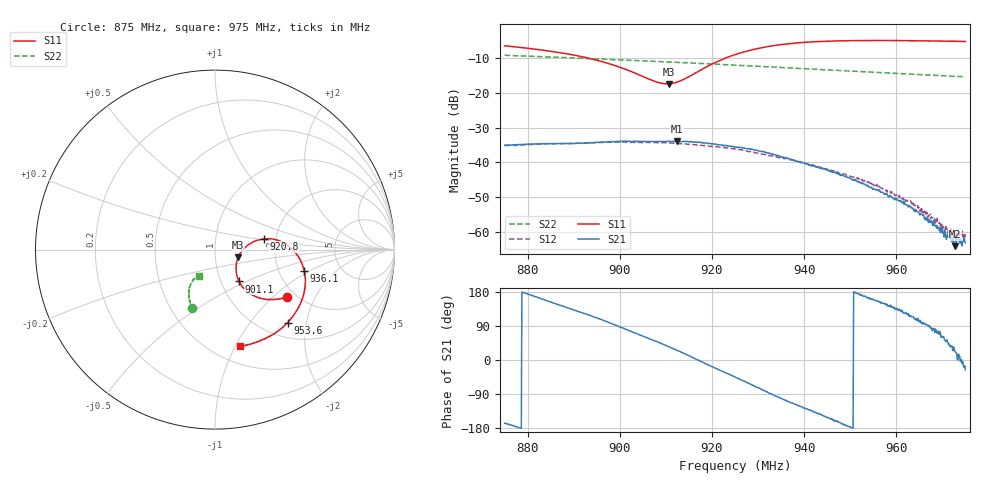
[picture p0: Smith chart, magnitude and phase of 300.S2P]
! C:\Users\rflab\Downloads\Lab5_KD_ZW\Q3\300.S2P
! Touchstone 1.1 file saved by VNA.EXE V1.65 (www.ke5fx.com/gpib/readme.htm)
! 11/18/2024 10:39:58 PM
!  Source: HEWLETT PACKARD,8753D,0,6.14
!  Min freq: 8.750000E+008 Hz
!  Max freq: 9.750200E+008 Hz
!  Points: 801
!  Params: S11 S21 S12 S22
# GHZ S MA R 50
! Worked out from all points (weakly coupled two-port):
!   801 points, 875 MHz to 975 MHz, reference 50 ohm
!   highest |S21| = -33.86 dB at 912.4 MHz (marker M1); lowest = -64.2 dB at 972.8 MHz (marker M2)
!   lowest |S11| = -17.3 dB at 910.6 MHz (marker M3), VSWR 1.31, Z = 64.5 - j5.65 ohm
!   |S11| at or under -10 dB: 893.4 MHz to 922.8 MHz (29.37 MHz wide, 3.23 % of centre)
!   |S22| runs from -15.3 to -9.1 dB; largest |S21 - S12| = 0.0034
!   S11 on the Smith chart (normalised r, x): 875 MHz: 1.80, -1.23; 901.1 MHz: 1.22, -0.45; 920.8 MHz: 1.73, +0.22; 936.1 MHz: 2.77, -0.89; 953.6 MHz: 1.29, -1.56; 975 MHz: 0.67, -1.04
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0.875  0.4806 -33.2  0.01767 -166.8  0.01741 -155.7  0.3511 -111.2
0.8843769  0.4064 -43.2  0.01853 155.8  0.01848 165.1  0.3321 -114.2
0.8917534  0.3351 -50.0  0.01891 125.3  0.01896 132.8  0.3179 -116.4
0.9011302  0.2221 -53.0  0.02018 81.7  0.01956 88.3  0.2988 -118.9
0.9083817  0.142 -32.7  0.01985 46.7  0.01927 52.6  0.2861 -120.7
0.9106321  0.1359 -18.4  0.02003 35.1  0.0191 40.5  0.2813 -121.2
0.9123825  0.1438 -7.1  0.02027 25.8  0.01873 31.2  0.278 -121.6
0.9207591  0.2774 12.4  0.01841 -21.2  0.01676 -12.3  0.2606 -123.4
0.92501  0.3589 8.0  0.01658 -44.4  0.01567 -35.3  0.2529 -124.1
0.9310112  0.4549 -3.1  0.01439 -78.5  0.01302 -67.5  0.2413 -124.8
0.9361372  0.5111 -13.4  0.01148 -106.6  0.01139 -92.4  0.2317 -125.2
0.9417633  0.5479 -24.4  0.008981 -134.5  0.008986 -122.7  0.2215 -125.6
0.9486397  0.5684 -36.9  0.006342 -170.0  0.006703 -156.1  0.2101 -125.7
0.9536407  0.5739 -45.2  0.004622 164.8  0.005162 179.2  0.202 -125.6
0.9583917  0.5739 -52.5  0.00317 142.9  0.003847 153.8  0.1946 -125.3
0.9628926  0.5709 -59.0  0.002298 118.5  0.002722 129.0  0.1879 -124.8
0.9655181  0.5672 -62.7  0.001761 99.3  0.002203 107.9  0.1845 -124.4
0.9693939  0.5625 -68.1  0.001028 67.6  0.001341 73.5  0.1787 -123.8
0.970144  0.562 -69.2  0.000942 59.4  0.001184 65.8  0.1781 -123.6
0.9727695  0.5591 -72.8  0.000615 21.7  0.000959 31.9  0.1745 -123.0
0.9736447  0.5571 -74.0  0.000732 6.9  0.000898 8.3  0.1737 -122.8
0.97502  0.5551 -75.8  0.000689 -25.8  0.000834 -22.7  0.1715 -122.4
